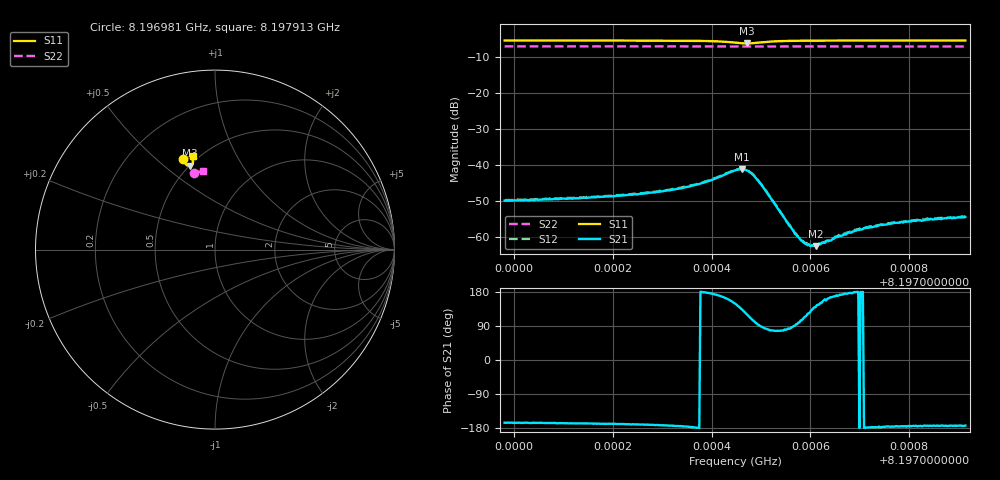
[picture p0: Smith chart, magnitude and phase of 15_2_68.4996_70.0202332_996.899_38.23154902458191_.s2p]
#  HZ  S  RI  R  50.00
! Rohde & Schwarz Vector Network Analyzer
! Rohde-Schwarz,ZNB20-2Port,1311601062101988,3.16
! Created: UTC 3/20/2024, 4:49:11 PM
! freq[Hz]  re:S11  im:S11  re:S21  im:S21  re:S12  im:S12  re:S22  im:S22
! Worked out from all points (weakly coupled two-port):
!   401 points, 8.196981 GHz to 8.197913 GHz, reference 50 ohm
!   highest |S21| = -41.17 dB at 8.197461 GHz (marker M1); lowest = -62.5 dB at 8.197611 GHz (marker M2)
!   lowest |S11| = -6.2 dB at 8.197471 GHz (marker M3), VSWR 2.90, Z = 25.2 + j30.9 ohm
!   |S11| at or under -10 dB: nowhere
!   |S22| runs from -7.1 to -7.0 dB; largest |S21 - S12| = 0.00046
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8.1969813e9  -0.1806 0.5048  -0.00309 -0.000802  -0.00319 -0.000708  -0.1156 0.4285
8.1971375e9  -0.1683 0.5083  -0.00339 -0.000764  -0.00349 -0.000642  -0.107 0.4307
8.197219e9  -0.161 0.5099  -0.00368 -0.000736  -0.00382 -0.000561  -0.1025 0.4316
8.1972936e9  -0.1531 0.5113  -0.0042 -0.000604  -0.00435 -0.000434  -0.0984 0.4324
8.1973356e9  -0.1471 0.5114  -0.00471 -0.00047  -0.0048 -0.000252  -0.0959 0.4329
8.1973728e9  -0.1403 0.5103  -0.0054 -0.000109  -0.00551 0.000125  -0.0938 0.4331
8.1974055e9  -0.132 0.5061  -0.00633 0.000736  -0.00643 0.00102  -0.0918 0.4332
8.1974474e9  -0.1231 0.4851  -0.0072 0.00433  -0.00714 0.0047  -0.0894 0.4332
8.1974614e9  -0.1291 0.4729  -0.00602 0.00634  -0.00579 0.00672  -0.0889 0.4328
8.1974707e9  -0.1381 0.4674  -0.00437 0.00721  -0.00413 0.00751  -0.0887 0.4328
8.1974824e9  -0.1514 0.4675  -0.00207 0.00713  -0.00178 0.00732  -0.0885 0.4331
8.1974987e9  -0.1637 0.4772  6.69e-05 0.00552  0.000256 0.00557  -0.0877 0.4337
8.1975639e9  -0.1604 0.5047  5.47e-05 0.00126  7.8e-05 0.00127  -0.0841 0.4347
8.1975733e9  -0.159 0.5062  -9.08e-05 0.00103  -5.69e-05 0.00103  -0.0836 0.4351
8.1975849e9  -0.157 0.5079  -0.000278 0.000831  -0.00026 0.000818  -0.0829 0.4352
8.1975942e9  -0.1557 0.5088  -0.0004 0.000653  -0.000353 0.000727  -0.0822 0.4353
8.1976035e9  -0.1544 0.5099  -0.000521 0.000554  -0.000515 0.000563  -0.0819 0.4354
8.1976105e9  -0.1535 0.5105  -0.000571 0.000487  -0.000571 0.000525  -0.0814 0.4353
8.1976898e9  -0.1445 0.5149  -0.00122 2.6e-05  -0.00126 5.99e-05  -0.0768 0.4362
8.1977597e9  -0.1378 0.5172  -0.00152 -0.000111  -0.00155 -2.95e-05  -0.0728 0.4367
8.1978319e9  -0.1318 0.519  -0.00171 -0.000201  -0.00174 -0.000108  -0.0688 0.4372
8.1979135e9  -0.1252 0.5206  -0.00188 -0.000226  -0.00193 -0.000144  -0.0642 0.4377
